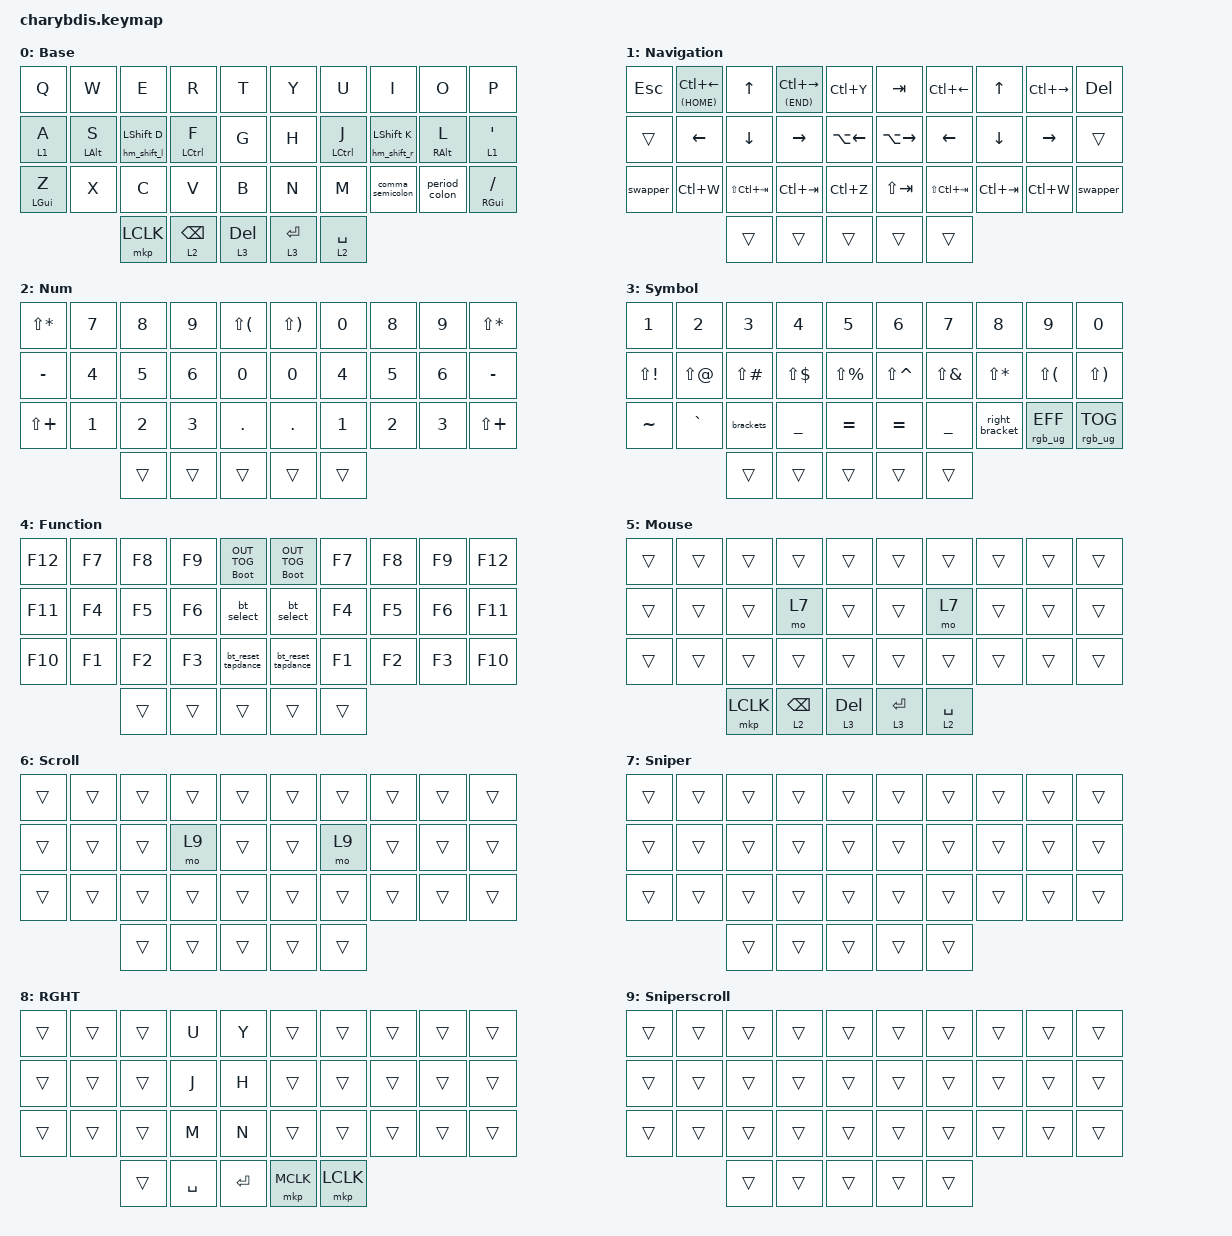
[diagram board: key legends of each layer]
#include <dt-bindings/zmk/mouse.h>
#include <behaviors/mouse_keys.dtsi>
#include <behaviors.dtsi>
#include <dt-bindings/zmk/bt.h>
#include <dt-bindings/zmk/keys.h>
#include "includes/settings.dtsi"
#include "includes/behaviours_homerow_mods.dtsi"
#include <behaviors/num_word.dtsi>
#include <dt-bindings/zmk/input_transform.h>
#include <dt-bindings/zmk/outputs.h>
#include <dt-bindings/zmk/rgb.h>

#define BASE 0
#define NAV 1
#define NUM 2
#define SYM 3
#define FUN 4
#define POI 5
#define SCR 6
#define SNI 7
#define RGHT 8

&sl { release-after-ms = <1000>; };

&mt {
    tapping-term-ms = <200>;
    require-prior-idle-ms = <150>;
};

&led_strip {
    chain-length = <18>;
};

/ {
    chosen { zmk,matrix_transform = &five_column_transform; };

    behaviors {
        swapper: swapper {
            compatible = "zmk,behavior-tri-state";
            #binding-cells = <0>;
            bindings = <&kt LALT>, <&kp TAB>, <&kt LALT>;
            ignored-key-positions = <2 7 10 11 12 13 16 17 18 19>;
            ignored-layers = <0 1>;
        };

        hml: homewrow_mods_left {
            compatible = "zmk,behavior-hold-tap";
            label = "HOMEROW_MODS_LEFT_HAND";
            bindings = <&kp>, <&kp>;

            #binding-cells = <2>;
            tapping-term-ms = <280>;
            hold-trigger-key-positions = <5 6 7 8 9 15 16 17 18 19 25 26 27 28 29 33 34>;
            flavor = "balanced";
            quick-tap-ms = <175>;
            require-prior-idle-ms = <125>;
            hold-trigger-on-release;
        };

        hmr: homewrow_mods_right {
            compatible = "zmk,behavior-hold-tap";
            label = "HOMEROW_MODS_RIGHT_HAND";
            bindings = <&kp>, <&kp>;

            #binding-cells = <2>;
            tapping-term-ms = <280>;
            hold-trigger-key-positions = <0 1 2 3 4 10 11 12 13 14 20 21 22 23 24 30 31 32>;
            flavor = "balanced";
            quick-tap-ms = <175>;
            require-prior-idle-ms = <125>;
            hold-trigger-on-release;
        };

        right_bracket: right_bracket {
            compatible = "zmk,behavior-tap-dance";
            label = "RIGHT_BRACKET";
            #binding-cells = <0>;
            bindings =
                <&kp RIGHT_PARENTHESIS>,
                <&kp RIGHT_BRACE>,
                <&kp RIGHT_BRACKET>;
        };

        small_bracket: small_bracket {
            compatible = "zmk,behavior-hold-tap";
            label = "SMALL_BRACKET";
            bindings = <&left_right_brackets>, <&kp>;

            #binding-cells = <2>;
            tapping-term-ms = <200>;
            flavor = "balanced";
        };

        mid_bracket: mid_bracket {
            compatible = "zmk,behavior-hold-tap";
            label = "MID_BRACKET";
            bindings = <&left_right_brackets_2>, <&kp>;

            #binding-cells = <2>;
            tapping-term-ms = <200>;
            flavor = "balanced";
        };

        large_bracket: large_bracket {
            compatible = "zmk,behavior-hold-tap";
            label = "LARGE_BRACKET";
            bindings = <&left_right_brackets_3>, <&kp>;

            #binding-cells = <2>;
            tapping-term-ms = <200>;
            flavor = "balanced";
        };

        brackets: brackets {
            compatible = "zmk,behavior-tap-dance";
            label = "BRACKETS";
            #binding-cells = <0>;
            bindings =
                <&small_bracket 0 LEFT_PARENTHESIS>,
                <&mid_bracket 0 LEFT_BRACE>,
                <&large_bracket 0 LEFT_BRACKET>;

            tapping-term-ms = <300>;
        };

        period_colon: period_colon {
            compatible = "zmk,behavior-tap-dance";
            label = "PERIOD_COLON";
            #binding-cells = <0>;
            bindings = <&kp PERIOD>, <&kp COLON>;
            tapping-term-ms = <140>;
        };

        comma_semicolon: comma_semicolon {
            compatible = "zmk,behavior-tap-dance";
            label = "COMMA_SEMICOLON";
            #binding-cells = <0>;
            bindings = <&kp COMMA>, <&kp SEMICOLON>;
            tapping-term-ms = <150>;
        };

        bt_reset: bt_reset {
            compatible = "zmk,behavior-hold-tap";
            label = "BT_RESET";
            bindings = <&bt>, <&none>;

            #binding-cells = <2>;
            tapping-term-ms = <2000>;
            require-prior-idle-ms = <1000>;
            flavor = "tap-preferred";
        };

        numword_stickylayer: numword_stickylayer {
            compatible = "zmk,behavior-hold-tap";
            label = "NUMWORD_STICKYLAYER";
            bindings = <&mo>, <&num_word>;

            #binding-cells = <2>;
            tapping-term-ms = <200>;
            require-prior-idle-ms = <100>;
            flavor = "balanced";
        };

        bt_select: bt_select {
            compatible = "zmk,behavior-tap-dance";
            label = "BT_SELECT";
            #binding-cells = <0>;
            bindings =
                <&bt BT_SEL 0>,
                <&bt BT_SEL 1>,
                <&bt BT_SEL 2>,
                <&bt BT_SEL 3>,
                <&bt BT_SEL 4>;

            tapping-term-ms = <300>;
        };

        bt_reset_tapdance: bt_reset_tapdance {
            compatible = "zmk,behavior-tap-dance";
            label = "BT_RESET_TAPDANCE";
            #binding-cells = <0>;
            bindings = <&bt_reset BT_CLR>, <&bt_reset BT_CLR_ALL>;
        };

        output_toggle_bootloader: output_toggle_bootloader {
            compatible = "zmk,behavior-hold-tap";
            label = "OUTPUT_TOGGLE_BOOTLOADER";
            bindings = <&bootloader>, <&out>;

            #binding-cells = <2>;
            tapping-term-ms = <1000>;
            require-prior-idle-ms = <2000>;
        };
    };

    combos {
        compatible = "zmk,combos";

        combo_esc {
            bindings = <&kp ESC>;
            key-positions = <0 1>;
        };

        copy {
            bindings = <&kp LC(C)>;
            key-positions = <13 22>;
        };

        paste {
            bindings = <&kp LC(V)>;
            key-positions = <13 23>;
        };

        tab {
            bindings = <&kp TAB>;
            key-positions = <12 13>;
        };

        shifttab {
            bindings = <&kp LS(TAB)>;
            key-positions = <10 11>;
        };

        mouseright {
            bindings = <&mkp RCLK>;
            key-positions = <22 23>;
            layers = <0 5 6 7>;
            timeout-ms = <20>;
            require-prior-idle-ms = <150>;
        };

        mousemiddle {
            bindings = <&mkp MCLK>;
            key-positions = <20 23>;
            layers = <0 5 6 7>;
            timeout-ms = <20>;
            require-prior-idle-ms = <150>;
        };

        mouseleft_R {
            bindings = <&mkp LCLK>;
            key-positions = <16 17>;
            layers = <0 5 6 7>;
            timeout-ms = <20>;
            require-prior-idle-ms = <150>;
        };

        mouseright_R {
            bindings = <&mkp RCLK>;
            key-positions = <26 27>;
            layers = <0 5 6 7>;
            timeout-ms = <20>;
            require-prior-idle-ms = <150>;
        };

        mousemiddle_R {
            bindings = <&mkp MCLK>;
            key-positions = <26 29>;
            layers = <0 5 6 7>;
            timeout-ms = <20>;
            require-prior-idle-ms = <150>;
        };

        hanyeong {
            bindings = <&kp LANGUAGE_1>;
            key-positions = <11 12 13>;
        };

        temprighthand {
            bindings = <&sl 8>;
            key-positions = <21 22 23>;
            slow-release;
        };

        tog_nav {
            bindings = <&tog 1>;
            key-positions = <32 10>;
        };

        alt_tab {
            bindings = <&kp LA(TAB)>;
            key-positions = <0 1 2 3>;
        };


        screencapture {
            bindings = <&kp LS(LG(S))>;
            key-positions = <10 11 12 13>;
            timeout-ms = <20>;
        };

        replyall {
            bindings = <&kp LC(LS(R))>;
            key-positions = <2 3>;
            timeout-ms = <20>;
            require-prior-idle-ms = <250>;
        };

        find {
            bindings = <&kp LC(F)>;
            key-positions = <13 14>;
            timeout-ms = <20>;
            require-prior-idle-ms = <250>;
        };

        scroll_l {
            bindings = <&mo 6>;
            key-positions = <11 12>;
            layers = <0 5 7>;
            slow-release;
        };

        scroll_r {
            bindings = <&mo 6>;
            key-positions = <17 18>;
            layers = <0 5 7>;
            slow-release;
        };

        numword {
            bindings = <&num_word 2>;
            key-positions = <10 30>;
            timeout-ms = <30>;
        };

        func_layer {
            bindings = <&sl 4>;
            key-positions = <31 34>;
            timeout-ms = <50>;
            require-prior-idle-ms = <200>;
        };

        func_layer_lefthand {
            bindings = <&sl 4>;
            key-positions = <31 32>;
            timeout-ms = <50>;
            require-prior-idle-ms = <200>;
        };
    };

    macros {
        left_right_brackets: left_right_brackets {
            compatible = "zmk,behavior-macro";
            #binding-cells = <0>;
            bindings = <&kp LEFT_PARENTHESIS &kp RIGHT_PARENTHESIS &kp LEFT>;
            label = "LEFT_RIGHT_BRACKETS";
        };

        left_right_brackets_2: left_right_brackets_2 {
            compatible = "zmk,behavior-macro";
            #binding-cells = <0>;
            bindings = <&kp LEFT_BRACE &kp RIGHT_BRACE &kp LEFT>;
            label = "LEFT_RIGHT_BRACKETS_2";
        };

        left_right_brackets_3: left_right_brackets_3 {
            compatible = "zmk,behavior-macro";
            #binding-cells = <0>;
            bindings = <&kp LEFT_BRACKET &kp RIGHT_BRACKET &kp LEFT>;
            label = "LEFT_RIGHT_BRACKETS_3";
        };
    };

    xy_transf: xy_transf {
        compatible = "zmk,input-processor-transform";
        #input-processor-cells = <1>;
        type = <INPUT_EV_REL>;
        x-codes = <INPUT_REL_X>, <INPUT_REL_WHEEL>;

        y-codes = <INPUT_REL_Y>, <INPUT_REL_HWHEEL>;
    };

    xy_scaler: xy_scaler {
        compatible = "zmk,input-processor-scaler";
        #input-processor-cells = <2>;
        type = <INPUT_EV_REL>;
        codes = <INPUT_REL_X>, <INPUT_REL_Y>;

        track-remainders;
    };

    x_scaler: x_scaler {
        compatible = "zmk,input-processor-scaler";
        #input-processor-cells = <2>;
        type = <INPUT_EV_REL>;
        codes = <INPUT_REL_X>;
    };

    zip_xy_to_scroll_mapper: zip_xy_to_scroll_mapper {
        compatible = "zmk,input-processor-code-mapper";
        #input-processor-cells = <0>;
        type = <INPUT_EV_REL>;
        map = <INPUT_REL_X INPUT_REL_HWHEEL>, <INPUT_REL_Y INPUT_REL_WHEEL>;
    };

    zip_temp_layer: zip_temp_layer {
        compatible = "zmk,input-processor-temp-layer";
        #input-processor-cells = <2>;
        excluded-positions = <32>;
    };

    keymap {
        compatible = "zmk,keymap";

        Base {
            label = "Base";
            bindings = <
  &kp Q             &kp W         &kp E                &kp R            &kp T                       &kp Y        &kp U          &kp I                &kp O          &kp P
  &lt 1 A           &hm_l LALT S  &hm_shift_l LSHFT D  &hm_l LCTRL F    &kp G                       &kp H        &hm_r LCTRL J  &hm_shift_r LSHFT K  &hm_r RALT L   &lt 1 SQT
  &hm_l LEFT_GUI Z  &kp X         &kp C                &kp V            &kp B                       &kp N        &kp M          &comma_semicolon     &period_colon  &hm_r RGUI SLASH
                                  &mkp LCLK            &lt 2 BACKSPACE  &lt 3 DELETE                &lt 3 ENTER  &lt 2 SPACE
            >;
        };

        Navigation {
            label = "Navigation";
            bindings = <
  &kp ESC  &mt (HOME) LC(LEFT)  &kp UP           &mt (END) LC(RIGHT)  &kp LC(Y)         &kp TAB            &kp LC(LEFT)    &kp UP       &kp LC(RIGHT)  &kp DEL
  &trans   &kp LEFT             &kp DOWN         &kp RIGHT            &kp LA(LEFT)      &kp LA(RIGHT)      &kp LEFT        &kp DOWN     &kp RIGHT      &trans
  &swapper &kp LC(W)            &kp LS(LC(TAB))  &kp LC(TAB)          &kp LC(Z)         &kp LS(TAB)        &kp LS(LC(TAB)) &kp LC(TAB)  &kp LC(W)      &swapper
                                &trans           &trans               &trans            &trans             &trans
            >;
        };

        Num {
            label = "Num";
            bindings = <
  &kp LS(STAR)  &kp N7  &kp N8  &kp N9  &kp LS(LPAR)    &kp LS(RPAR)  &kp N0  &kp N8  &kp N9  &kp LS(STAR)
  &kp MINUS     &kp N4  &kp N5  &kp N6  &kp N0          &kp N0        &kp N4  &kp N5  &kp N6  &kp MINUS
  &kp LS(PLUS)  &kp N1  &kp N2  &kp N3  &kp DOT         &kp DOT       &kp N1  &kp N2  &kp N3  &kp LS(PLUS)
                        &trans  &trans  &trans          &trans        &trans
            >;
        };

        Symbol {
            label = "Symbol";
            bindings = <
  &kp N1        &kp N2      &kp N3         &kp N4          &kp N5           &kp N6         &kp N7        &kp N8          &kp N9        &kp N0
  &kp LS(EXCL)  &kp LS(AT)  &kp LS(POUND)  &kp LS(DLLR)    &kp LS(PRCNT)    &kp LS(CARET)  &kp LS(AMPS)  &kp LS(STAR)    &kp LS(LPAR)  &kp LS(RPAR)
  &kp TILDE     &kp GRAVE   &brackets      &kp UNDERSCORE  &kp EQUAL        &kp EQUAL      &kp UNDERSCORE &right_bracket  &rgb_ug RGB_EFF        &rgb_ug RGB_TOG
                            &trans         &trans          &trans           &trans         &trans
            >;
        };

        Function {
            label = "Function";
            bindings = <
  &kp F12  &kp F7  &kp F8  &kp F9  &output_toggle_bootloader 0 OUT_TOG      &output_toggle_bootloader 0 OUT_TOG    &kp F7  &kp F8  &kp F9  &kp F12
  &kp F11  &kp F4  &kp F5  &kp F6  &bt_select                             &bt_select                           &kp F4  &kp F5  &kp F6  &kp F11
  &kp F10  &kp F1  &kp F2  &kp F3  &bt_reset_tapdance                     &bt_reset_tapdance                   &kp F1  &kp F2  &kp F3  &kp F10
                   &trans  &trans  &trans                                 &trans                               &trans
            >;
        };

        Mouse {
            label = "Mouse";
            bindings = <
  &trans  &trans  &trans     &trans     &trans       &trans     &trans     &trans  &trans  &trans
  &trans  &trans  &trans     &mo 7      &trans       &trans     &mo 7      &trans  &trans  &trans
  &trans  &trans  &trans     &trans     &trans       &trans     &trans     &trans  &trans  &trans
                 &mkp LCLK       &lt 2 BACKSPACE     &lt 3 DELETE                &lt 3 ENTER  &lt 2 SPACE
            >;
        };

        Scroll {
            label = "Scroll";
            bindings = <
  &trans  &trans  &trans  &trans  &trans    &trans  &trans  &trans  &trans  &trans
  &trans  &trans  &trans  &mo 9  &trans    &trans  &mo 9  &trans  &trans  &trans
  &trans  &trans  &trans  &trans  &trans    &trans  &trans  &trans  &trans  &trans
                  &trans  &trans  &trans    &trans  &trans
            >;
        };

        Sniper {
            label = "Sniper";
            bindings = <
  &trans  &trans  &trans  &trans  &trans    &trans  &trans  &trans  &trans  &trans
  &trans  &trans  &trans  &trans  &trans    &trans  &trans  &trans  &trans  &trans
  &trans  &trans  &trans  &trans  &trans    &trans  &trans  &trans  &trans  &trans
                  &trans  &trans  &trans    &trans  &trans
            >;
        };

        righthand {
            label = "RGHT";
            bindings = <
  &trans  &trans  &trans     &kp U      &kp Y        &trans     &trans     &trans  &trans  &trans
  &trans  &trans  &trans     &kp J      &kp H        &trans     &trans     &trans  &trans  &trans
  &trans  &trans  &trans     &kp M      &kp N        &trans     &trans     &trans  &trans  &trans
                  &trans     &kp SPACE  &kp ENTER    &mkp MCLK  &mkp LCLK
            >;
        };

        Sniperscroll {
            label = "Sniperscroll";
            bindings = <
  &trans  &trans  &trans  &trans  &trans    &trans  &trans  &trans  &trans  &trans
  &trans  &trans  &trans  &trans  &trans    &trans  &trans  &trans  &trans  &trans
  &trans  &trans  &trans  &trans  &trans    &trans  &trans  &trans  &trans  &trans
                  &trans  &trans  &trans    &trans  &trans
            >;
        };
    };
};
